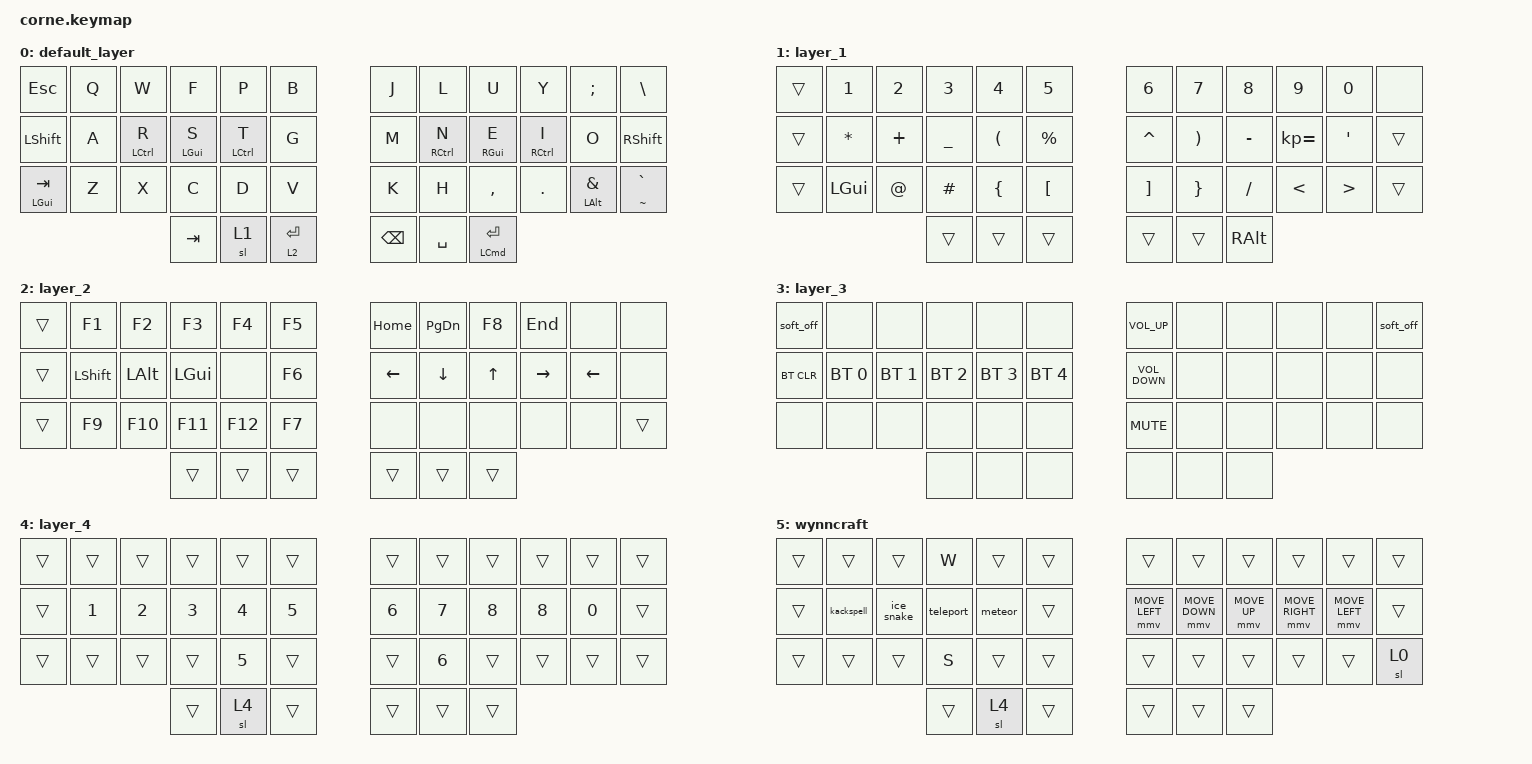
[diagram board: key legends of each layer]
/*
 * Copyright (c) 2020 The ZMK Contributors
 *s
 * SPDX-License-Identifier: MIT
 */

#include <dt-bindings/zmk/mouse.h>
#include <behaviors.dtsi>
#include <dt-bindings/zmk/bt.h>
#include <dt-bindings/zmk/keys.h>
#include <dt-bindings/zmk/pointing.h>

#define ZMK_POINTING_DEFAULT_MOVE_VAL 1500
#define ZMK_POINTING_DEFAULT_SCRL_VAL 20

/ {
    behaviors {
        /* --- index-finger mod-taps (parameterized: expect two params at use site) --- */

        mt_index_left: mt_index_left {
            compatible = "zmk,behavior-hold-tap";
            label = "MT_INDEX_LEFT";
            #binding-cells = <2>;
            tapping-term-ms = <500>;
            require-prior-idle-ms = <100>;
            flavor = "tap-preferred";
            quick-tap-ms = <50>;
            bindings = <&kp>, <&kp>;
        };

        mt_index_right: mt_index_right {
            compatible = "zmk,behavior-hold-tap";
            label = "MT_INDEX_RIGHT";
            #binding-cells = <2>;
            tapping-term-ms = <500>;
            require-prior-idle-ms = <100>;
            flavor = "tap-preferred";
            quick-tap-ms = <50>;
            bindings = <&kp>, <&kp>;
        };

        backspace_delete: backspace_delete {
            compatible = "zmk,behavior-mod-morph";
            label = "BACKSPACE_DELETE";
            bindings = <&kp BACKSPACE>, <&kp DELETE>;

            #binding-cells = <0>;
            mods = <(MOD_LSFT)>;
        };

        capslock_layer1: capslock_layer1 {
            compatible = "zmk,behavior-tap-dance";
            label = "CAPSLOCK_LAYER1";
            #binding-cells = <0>;
            bindings = <&mo 1>, <&kp CAPSLOCK>;
        };
    };

    combos {
        compatible = "zmk,combos";
        combo_timeout = <25>;

        mo_layer3 {
            bindings = <&mo 3>;
            key-positions = <37 38>;
        };

        layer-3-right {
            bindings = <&mo 3>;
            key-positions = <39 40>;
        };

        lparen {
            bindings = <&kp QUESTION>;
            key-positions = <16 15>;
        };

        exclam {
            bindings = <&kp EXCLAMATION>;
            key-positions = <19 20>;
        };

        backslash {
            bindings = <&kp BACKSLASH>;
            key-positions = <16 19>;
        };

        dollar {
            bindings = <&kp DOLLAR>;
            key-positions = <15 20>;
        };

        pipe {
            bindings = <&kp PIPE>;
            key-positions = <25 34>;
        };

        escape {
            bindings = <&kp ESCAPE>;
            key-positions = <40 36>;
        };

        minecraffft {
            bindings = <&tog 5>;
            key-positions = <12 23>;
        };
    };

    macros {
        teleport: teleport {
            compatible = "zmk,behavior-macro";
            #binding-cells = <0>;
            bindings = <&mkp RCLK &mkp RCLK &mkp RCLK>;
            label = "TELEPORT";
        };

        meteor: meteor {
            compatible = "zmk,behavior-macro";
            #binding-cells = <0>;
            bindings = <&mkp RCLK &mkp LCLK &mkp LCLK>;
            label = "METEOR";
            tap-ms = <0>;
            wait-ms = <100>;
        };

        ice_snake: ice_snake {
            compatible = "zmk,behavior-macro";
            #binding-cells = <0>;
            bindings = <&mkp RCLK &mkp RCLK &mkp LCLK>;
            label = "ICE_SNAKE";
            wait-ms = <100>;
        };

        kackspell: kackspell {
            compatible = "zmk,behavior-macro";
            #binding-cells = <0>;
            bindings = <&mkp RCLK &mkp LCLK &mkp RCLK>;
            label = "KACKSPELL";
            wait-ms = <100>;
        };
    };

    keymap {
        compatible = "zmk,keymap";

        default_layer {
            // -----------------------------------------------------------------------------------------
            // |  TAB |  Q  |  W  |  E  |  R  |  T  |   |  Y  |  U   |  I  |  O  |  P  | BSPC |
            // | CTRL |  A  |  S  |  D  |  F  |  G  |   |  H  |  J   |  K  |  L  |  ;  |  '   |
            // | SHFT |  Z  |  X  |  C  |  V  |  B  |   |  N  |  M   |  ,  |  .  |  /  | ESC  |
            //                    | GUI | LWR | SPC |   | ENT | RSE  | ALT |

            bindings = <
&kp ESC           &kp Q  &kp W                   &kp F                      &kp P                   &kp B          &kp J          &kp L                   &kp U                       &kp Y                   &kp SEMICOLON           &kp BACKSLASH
&kp LEFT_SHIFT    &kp A  &mt_index_left LCTRL R  &mt_index_left LEFT_GUI S  &mt_index_left LCTRL T  &kp G          &kp M          &mt_index_left RCTRL N  &mt_index_left RIGHT_GUI E  &mt_index_left RCTRL I  &kp O                   &kp RIGHT_SHIFT
&mt LEFT_GUI TAB  &kp Z  &kp X                   &kp C                      &kp D                   &kp V          &kp K          &kp H                   &kp COMMA                   &kp DOT                 &mt LEFT_ALT AMPERSAND  &mt TILDE GRAVE
                                                 &kp TAB                    &sl 1                   &lt 2 ENTER    &kp BACKSPACE  &kp SPACE               &mt LEFT_COMMAND ENTER
            >;
        };

        layer_1 {
            bindings = <
&trans  &kp NUMBER_1  &kp NUMBER_2  &kp NUMBER_3  &kp NUMBER_4          &kp N5              &kp NUMBER_6       &kp N7                 &kp N8         &kp N9        &kp N0            &none
&trans  &kp STAR      &kp PLUS      &kp UNDER     &kp LEFT_PARENTHESIS  &kp PERCENT         &kp CARET          &kp RIGHT_PARENTHESIS  &kp MINUS      &kp KP_EQUAL  &kp SINGLE_QUOTE  &trans
&trans  &kp LEFT_GUI  &kp AT        &kp POUND     &kp LEFT_BRACE        &kp LEFT_BRACKET    &kp RIGHT_BRACKET  &kp RIGHT_BRACE        &kp FSLH       &kp LT        &kp GT            &trans
                                    &trans        &trans                &trans              &trans             &trans                 &kp RIGHT_ALT
            >;
        };

        layer_2 {
            bindings = <
&trans  &kp F1          &kp F2        &kp F3        &kp F4   &kp F5    &kp HOME  &kp PAGE_DOWN   &kp F8        &kp END    &none           &none
&trans  &kp LEFT_SHIFT  &kp LEFT_ALT  &kp LEFT_GUI  &none    &kp F6    &kp LEFT  &kp DOWN_ARROW  &kp UP_ARROW  &kp RIGHT  &kp LEFT_ARROW  &none
&trans  &kp F9          &kp F10       &kp F11       &kp F12  &kp F7    &none     &none           &none         &none      &none           &trans
                                      &trans        &trans   &trans    &trans    &trans          &trans
            >;
        };

        layer_3 {
            bindings = <
&soft_off   &none         &none         &none         &none         &none           &kp C_VOLUME_UP    &none  &none  &none  &none  &soft_off
&bt BT_CLR  &bt BT_SEL 0  &bt BT_SEL 1  &bt BT_SEL 2  &bt BT_SEL 3  &bt BT_SEL 4    &kp C_VOLUME_DOWN  &none  &none  &none  &none  &none
&none       &none         &none         &none         &none         &none           &kp K_MUTE         &none  &none  &none  &none  &none
                                        &none         &none         &none           &none              &none  &none
            >;
        };

        layer_4 {
            bindings = <
&trans  &trans        &trans        &trans        &trans        &trans    &trans        &trans        &trans        &trans  &trans  &trans
&trans  &kp NUMBER_1  &kp NUMBER_2  &kp NUMBER_3  &kp NUMBER_4  &kp N5    &kp NUMBER_6  &kp N7        &kp NUMBER_8  &kp N8  &kp N0  &trans
&trans  &trans        &trans        &trans        &kp NUMBER_5  &trans    &trans        &kp NUMBER_6  &trans        &trans  &trans  &trans
                                    &trans        &sl 4         &trans    &trans        &trans        &trans
            >;
        };

        wynncraft {
            bindings = <
&trans  &trans      &trans      &kp W      &trans   &trans    &trans          &trans          &trans        &trans           &trans          &trans
&trans  &kackspell  &ice_snake  &teleport  &meteor  &trans    &mmv MOVE_LEFT  &mmv MOVE_DOWN  &mmv MOVE_UP  &mmv MOVE_RIGHT  &mmv MOVE_LEFT  &trans
&trans  &trans      &trans      &kp S      &trans   &trans    &trans          &trans          &trans        &trans           &trans          &sl 0
                                &trans     &sl 4    &trans    &trans          &trans          &trans
            >;
        };
    };
};
